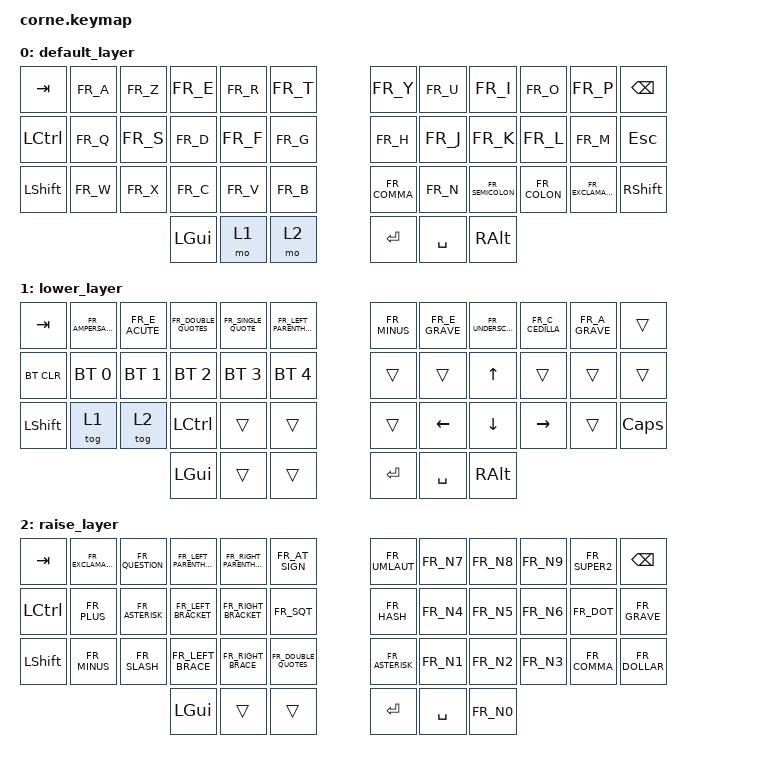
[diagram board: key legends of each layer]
/*
 * Copyright (c) 2020 The ZMK Contributors
 *
 * SPDX-License-Identifier: MIT
 */

#include <behaviors.dtsi>
#include <dt-bindings/zmk/bt.h>
#include <dt-bindings/zmk/keys.h>
#include <locale/keys_fr.h>
/ {
    keymap {
        compatible = "zmk,keymap";

        default_layer {
            // -----------------------------------------------------------------------------------------
            // |  TAB |  Q  |  W  |  E  |  R  |  T  |   |  Y  |  U   |  I  |  O  |  P  | BSP |
            // | CTRL |  A  |  S  |  D  |  F  |  G  |   |  H  |  J   |  K  |  L  |  M  |  ESC  |
            // | SHFT |  Z  |  X  |  C  |  V  |  B  |   |  N  |  ,   |  ;  |  :  |  !  | SHIFT  |
            //                    | GUI | LWR | SPC |   | ENT | RSE  | ALT |

            bindings = <
&kp TAB     &kp FR_A  &kp FR_Z  &kp FR_E     &kp FR_R  &kp FR_T        &kp FR_Y    &kp FR_U  &kp FR_I      &kp FR_O          &kp FR_P          &kp BSPC
&kp LCTRL  &kp FR_Q  &kp FR_S  &kp FR_D     &kp FR_F  &kp FR_G        &kp FR_H    &kp FR_J  &kp FR_K      &kp FR_L          &kp FR_M  &kp ESC
&kp LSHIFT	&kp FR_W  &kp FR_X  &kp FR_C     &kp FR_V  &kp FR_B        &kp FR_COMMA    &kp FR_N  &kp FR_SEMICOLON  &kp FR_COLON  &kp FR_EXCLAMATION  &kp RSHIFT
                          &kp LGUI  &mo 1  &mo 2    &kp RET  &kp SPACE &kp RALT
            >;
        };

        lower_layer {
            // -----------------------------------------------------------------------------------------
            // |  TAB |  &  |  é  |  "  |  '  |  (  |   |  -  |  è  |  _  |  ç  |  à  | BSPC |
            // | BTCLR| BT1 | BT2 | BT3 | BT4 | BT5 |   |  |  |  UP |  |     |      |
            // | SHFT |     |     |     |     |     |   |   LEFT  |   DOWN  |  RIGHT   |     |     |      |
            //                    | GUI |     | SPC |   | ENT |     | ALT |

            bindings = <
&kp TAB     &kp FR_AMPERSAND        &kp FR_E_ACUTE        &kp FR_DOUBLE_QUOTES        &kp FR_SINGLE_QUOTE        &kp FR_LEFT_PARENTHESIS          &kp FR_MINUS   &kp FR_E_GRAVE          &kp FR_UNDERSCORE    &kp FR_C_CEDILLA           &kp FR_A_GRAVE  &trans
&bt BT_CLR  &bt BT_SEL 0  &bt BT_SEL 1  &bt BT_SEL 2  &bt BT_SEL 3  &bt BT_SEL 4    &trans   &trans          &kp UP    &trans           &trans  &trans
&kp LSHFT   &tog 1        &tog 2        &kp LCTRL     &trans        &trans          &trans   &kp LEFT_ARROW  &kp DOWN  &kp RIGHT_ARROW  &trans  &kp CAPS
                                        &kp LGUI      &trans        &trans        &kp RET  &kp SPACE          &kp RALT
            >;
        };

        raise_layer {
            // -----------------------------------------------------------------------------------------
            // |  TAB |  !  |  @  |  #  |  $  |  %  |   |  @  |  7  |  8  |  9  |  ²  | BSPC |
            // | CTRL |     |     |     |     |     |   |  #  |  4  |  5  |  6  |  .  |  `   |
            // | SHFT |     |     |     |     |     |   |  *  |  1  |  2  |  3  | , |  $   |
            //                    | GUI |     | SPC |   | ENT |     | 0 |

            bindings = <
&kp TAB    &kp FR_EXCLAMATION   &kp FR_QUESTION        &kp FR_LEFT_PARENTHESIS  &kp FR_RIGHT_PARENTHESIS  &kp FR_AT_SIGN    &kp FR_UMLAUT   &kp FR_N7  &kp FR_N8  &kp FR_N9  &kp FR_SUPER2      &kp BSPC
&kp LCTRL  &kp FR_PLUS   &kp FR_ASTERISK  &kp FR_LEFT_BRACKET      &kp FR_RIGHT_BRACKET      &kp FR_SQT      &kp FR_HASH    &kp FR_N4  &kp FR_N5        &kp FR_N6  &kp FR_DOT	&kp FR_GRAVE
&kp LSHFT  &kp FR_MINUS  &kp FR_SLASH     &kp FR_LEFT_BRACE        &kp FR_RIGHT_BRACE        &kp FR_DOUBLE_QUOTES     &kp FR_ASTERISK  &kp FR_N1  &kp FR_N2  &kp FR_N3  &kp FR_COMMA    &kp FR_DOLLAR
                                    &kp LGUI              &trans                 &trans    &kp RET     &kp SPACE        &kp FR_N0
            >;
        };
    };
};
